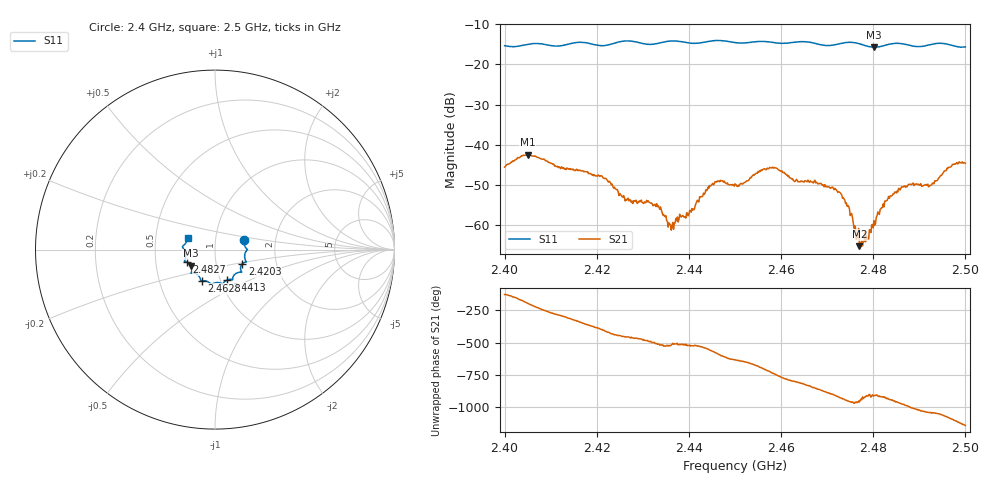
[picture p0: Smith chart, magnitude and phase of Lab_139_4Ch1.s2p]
# Hz S RI R 50
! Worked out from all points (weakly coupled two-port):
!   601 points, 2.4 GHz to 2.5 GHz, reference 50 ohm
!   highest |S21| = -42.48 dB at 2.405 GHz (marker M1); lowest = -65.2 dB at 2.477 GHz (marker M2)
!   lowest |S11| = -15.8 dB at 2.4802 GHz (marker M3), VSWR 1.39, Z = 37.5 - j6.9 ohm
!   |S11| at or under -10 dB: start of sweep to end of sweep
!   S12 and S22 are empty: the file has one direction only
!   S11 on the Smith chart (normalised r, x): 2.4 GHz: 1.38, +0.15; 2.4203 GHz: 1.34, -0.22; 2.4413 GHz: 1.08, -0.38; 2.4628 GHz: 0.82, -0.29; 2.4827 GHz: 0.72, -0.10; 2.5 GHz: 0.73, +0.10
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2.4e9  0.1618 0.0528  -0.00312 -0.00423  0 0  0 0
2.405e9  0.1767 0.00368  -0.00729 0.00186  0 0  0 0
2.416667e9  0.1742 -0.0693  0.00455 0.00127  0 0  0 0
2.420333e9  0.1522 -0.0794  0.00374 -0.00198  0 0  0 0
2.4265e9  0.1492 -0.1261  -0.000195 -0.00204  0 0  0 0
2.433333e9  0.1001 -0.1522  -0.00151 -0.000882  0 0  0 0
2.436333e9  0.0983 -0.1685  -0.000864 -0.000468  0 0  0 0
2.441333e9  0.067 -0.1692  -0.00161 -0.000607  0 0  0 0
2.446e9  0.0424 -0.1929  -0.00254 0.00231  0 0  0 0
2.45e9  0.0244 -0.1845  0.000187 0.00326  0 0  0 0
2.458e9  -0.0297 -0.1852  0.00502 -0.00122  0 0  0 0
2.462833e9  -0.0719 -0.1735  0.000666 -0.00347  0 0  0 0
2.466667e9  -0.0807 -0.1676  -0.00192 -0.00286  0 0  0 0
2.473e9  -0.1266 -0.1303  -0.00215 0.0012  0 0  0 0
2.477e9  -0.1307 -0.1233  -0.000269 0.000478  0 0  0 0
2.4775e9  -0.1297 -0.1192  -0.000468 0.000436  0 0  0 0
2.480167e9  -0.136 -0.0896  -0.00112 0.000202  0 0  0 0
2.482667e9  -0.1578 -0.0706  -0.00172 0.000997  0 0  0 0
2.483333e9  -0.163 -0.0684  -0.00181 0.00138  0 0  0 0
2.488167e9  -0.1645 -0.0454  0.000803 0.00311  0 0  0 0
2.4925e9  -0.176 0.00646  0.00245 0.00196  0 0  0 0
2.5e9  -0.151 0.0646  0.00276 -0.0052  0 0  0 0
